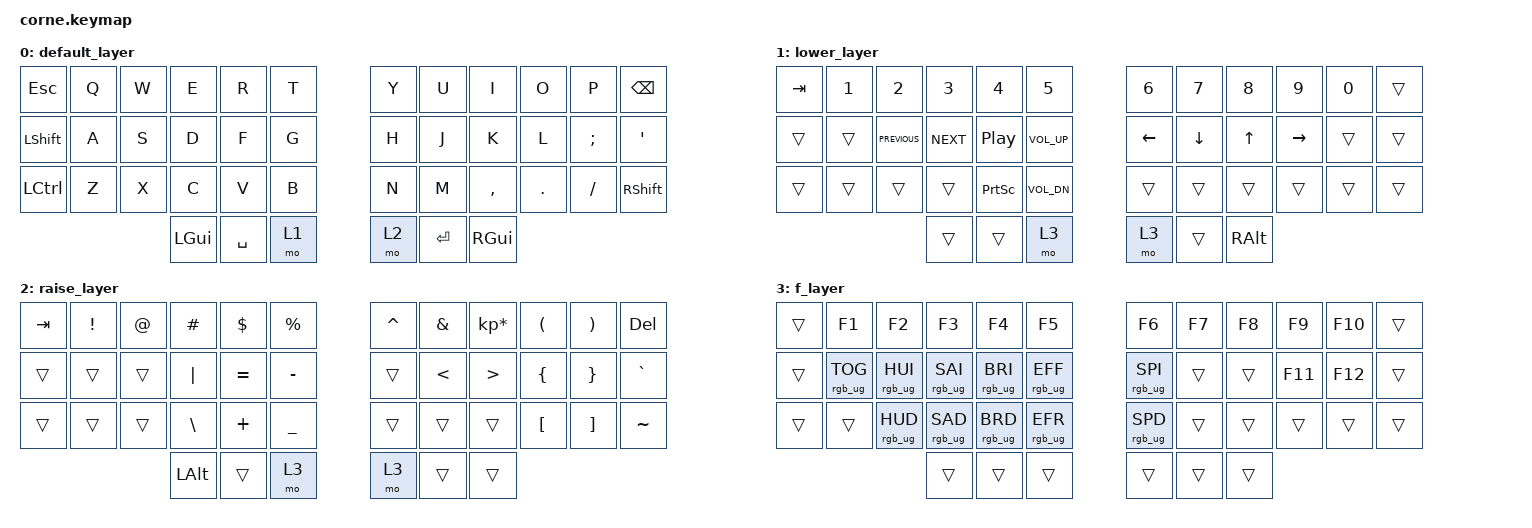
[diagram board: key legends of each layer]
/*
 * Copyright (c) 2020 The ZMK Contributors
 *
 * SPDX-License-Identifier: MIT
 */

#include <behaviors.dtsi>
#include <dt-bindings/zmk/keys.h>
#include <dt-bindings/zmk/rgb.h>

/ {
    keymap {
        compatible = "zmk,keymap";

        default_layer {
            bindings = <
&kp ESCAPE  &kp Q  &kp W  &kp E         &kp R      &kp T    &kp Y  &kp U      &kp I      &kp O    &kp P     &kp BSPC
&kp LSHFT   &kp A  &kp S  &kp D         &kp F      &kp G    &kp H  &kp J      &kp K      &kp L    &kp SEMI  &kp SQT
&kp LCTRL   &kp Z  &kp X  &kp C         &kp V      &kp B    &kp N  &kp M      &kp COMMA  &kp DOT  &kp FSLH  &kp RIGHT_SHIFT
                          &kp LEFT_GUI  &kp SPACE  &mo 1    &mo 2  &kp ENTER  &kp RGUI
            >;
        };

        lower_layer {
            bindings = <
&kp TAB  &kp N1  &kp N2          &kp N3      &kp N4            &kp N5             &kp N6    &kp N7    &kp N8         &kp N9     &kp N0  &trans
&trans   &trans  &kp C_PREVIOUS  &kp C_NEXT  &kp C_PLAY_PAUSE  &kp C_VOLUME_UP    &kp LEFT  &kp DOWN  &kp UP         &kp RIGHT  &trans  &trans
&trans   &trans  &trans          &trans      &kp PRINTSCREEN   &kp C_VOL_DN       &trans    &trans    &trans         &trans     &trans  &trans
                                 &trans      &trans            &mo 3              &mo 3     &trans    &kp RIGHT_ALT
            >;
        };

        raise_layer {
            bindings = <
&kp TAB  &kp EXCL  &kp AT  &kp HASH       &kp DLLR   &kp PRCNT    &kp CARET  &kp AMPS  &kp KP_MULTIPLY   &kp LPAR  &kp RPAR         &kp DEL
&trans   &trans    &trans  &kp PIPE       &kp EQUAL  &kp MINUS    &trans     &kp LT    &kp GREATER_THAN  &kp LBRC  &kp RIGHT_BRACE  &kp GRAVE
&trans   &trans    &trans  &kp BACKSLASH  &kp PLUS   &kp UNDER    &trans     &trans    &trans            &kp LBKT  &kp RBKT         &kp TILDE
                           &kp LEFT_ALT   &trans     &mo 3        &mo 3      &trans    &trans
            >;
        };

        f_layer {
            bindings = <
&trans  &kp F1           &kp F2           &kp F3           &kp F4           &kp F5             &kp F6           &kp F7  &kp F8  &kp F9   &kp F10  &trans
&trans  &rgb_ug RGB_TOG  &rgb_ug RGB_HUI  &rgb_ug RGB_SAI  &rgb_ug RGB_BRI  &rgb_ug RGB_EFF    &rgb_ug RGB_SPI  &trans  &trans  &kp F11  &kp F12  &trans
&trans  &trans           &rgb_ug RGB_HUD  &rgb_ug RGB_SAD  &rgb_ug RGB_BRD  &rgb_ug RGB_EFR    &rgb_ug RGB_SPD  &trans  &trans  &trans   &trans   &trans
                                          &trans           &trans           &trans             &trans           &trans  &trans
            >;
        };
    };
};


&led_strip {
    chain-length = <27>;
};
